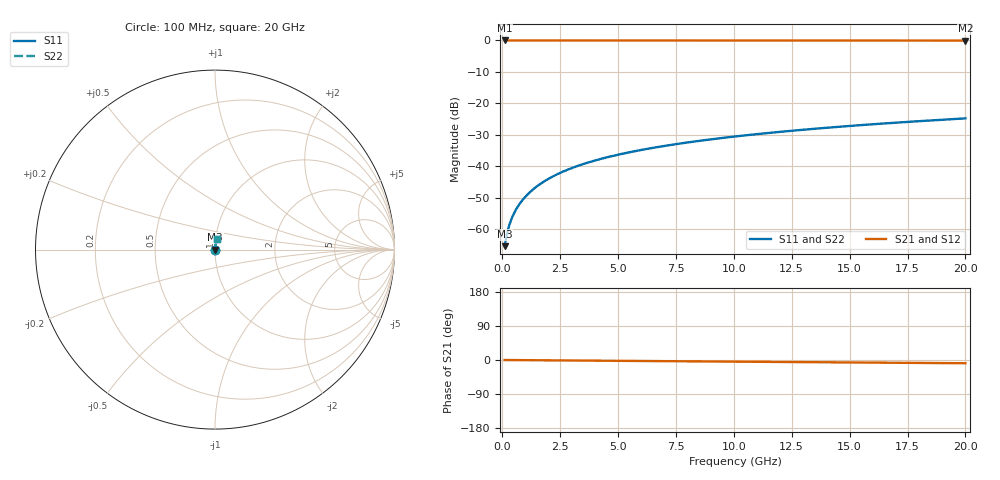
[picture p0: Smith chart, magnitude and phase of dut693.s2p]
! Touchstone file exported from HFSS 2026.1.0
!  File:  C:/ffzhzh/LocalFiles/Ansys_Project_Files/temp_train_BSMRDL_693_1783017739_4048.aedt
!  Generated:  02:43:34 AM Jul  3, 2026
!  Design:  BSMRDL
!  Project:  temp_train_BSMRDL_693_1783017739_4048
! Variables:
!  h_bsmrdl = 5.97um
!  h_ox = 20um
!  h_rdl = 5um
!  h_sub = 80um
!  h_tmrdl = 5um
!  h_tsv = 80um
!  h_via = 3um
!  l_bsmrdl = 112.56um
!  l_sub = 512.56um
!  l_tmrdl = 200um
!  m_sub = 200um
!  pitch = 46.03um
!  r_tsv = 6um
!  s_tmrdl = 10um
!  w_bsmrdl = 29.14um
!  w_sub = 500um
!  w_tmrdl = 12um
!  x_tsv_center1 = 206um
!  x_tsv_center2 = 347.7um
!  x_tsv_center3 = 559.7um
!  x_tsv_center4 = 701.4um
!  x_tsv_center5 = 913.4um
!  x_tsv_center6 = 1055.1um
# GHz S MA R 50.000000
! Terminal data exported
! Port[1] = BSM_RDL1_1_T1
! Port[2] = BSM_RDL1_1_T2
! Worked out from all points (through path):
!   200 points, 100 MHz to 20 GHz, reference 50 ohm
!   highest |S21| = 0.00 dB at 100 MHz (marker M1); lowest = 0.0 dB at 20 GHz (marker M2)
!   group delay of S21, straight-line fit = 1.19 ps
!   lowest |S11| = -65.5 dB at 100 MHz (marker M3), VSWR 1.00, Z = 50 + j0.0369 ohm
!   |S11| at or under -10 dB: start of sweep to end of sweep
!   |S22| runs from -65.5 to -24.8 dB; largest |S21 - S12| = 3.2e-15
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0.1  0.0005331 43.8  0.9996 -0.0  0.9996 -0.0  0.0005331 43.8
! Gamma 0 0 0 0
! Port Impedance 50 0 50 0
0.2  0.0008345 59.7  0.9996 -0.1  0.9996 -0.1  0.0008345 59.7
0.3  0.001149 66.3  0.9995 -0.1  0.9995 -0.1  0.001149 66.3
0.4  0.001457 69.9  0.9995 -0.2  0.9995 -0.2  0.001457 69.9
0.5  0.00176 72.4  0.9995 -0.2  0.9995 -0.2  0.00176 72.4
0.7  0.002361 75.8  0.9994 -0.3  0.9994 -0.3  0.002361 75.8
0.9  0.002963 77.9  0.9994 -0.4  0.9994 -0.4  0.002963 77.9
1.1  0.003569 79.4  0.9994 -0.5  0.9994 -0.5  0.003569 79.4
1.3  0.004176 80.4  0.9993 -0.6  0.9993 -0.6  0.004176 80.4
1.6  0.005089 81.5  0.9993 -0.7  0.9993 -0.7  0.005089 81.5
2.1  0.006609 82.4  0.9992 -0.9  0.9992 -0.9  0.006609 82.4
2.7  0.008421 82.9  0.9991 -1.2  0.9991 -1.2  0.008421 82.9
3.5  0.01081 83.2  0.9989 -1.5  0.9989 -1.5  0.01081 83.2
4.2  0.01287 83.2  0.9988 -1.8  0.9988 -1.8  0.01287 83.2
5  0.01521 83.1  0.9986 -2.2  0.9986 -2.2  0.01521 83.1
5.9  0.01781 83.0  0.9985 -2.6  0.9985 -2.6  0.01781 83.0
6.8  0.02039 82.9  0.9983 -3.0  0.9983 -3.0  0.02039 82.9
8.3  0.02467 82.5  0.998 -3.6  0.998 -3.6  0.02467 82.5
10.1  0.02978 82.1  0.9977 -4.4  0.9977 -4.4  0.02978 82.1
13.4  0.0391 81.1  0.9971 -5.8  0.9971 -5.8  0.0391 81.1
16.7  0.04835 80.0  0.9965 -7.2  0.9965 -7.2  0.04835 80.0
20  0.05751 78.8  0.9957 -8.6  0.9957 -8.6  0.05751 78.8
